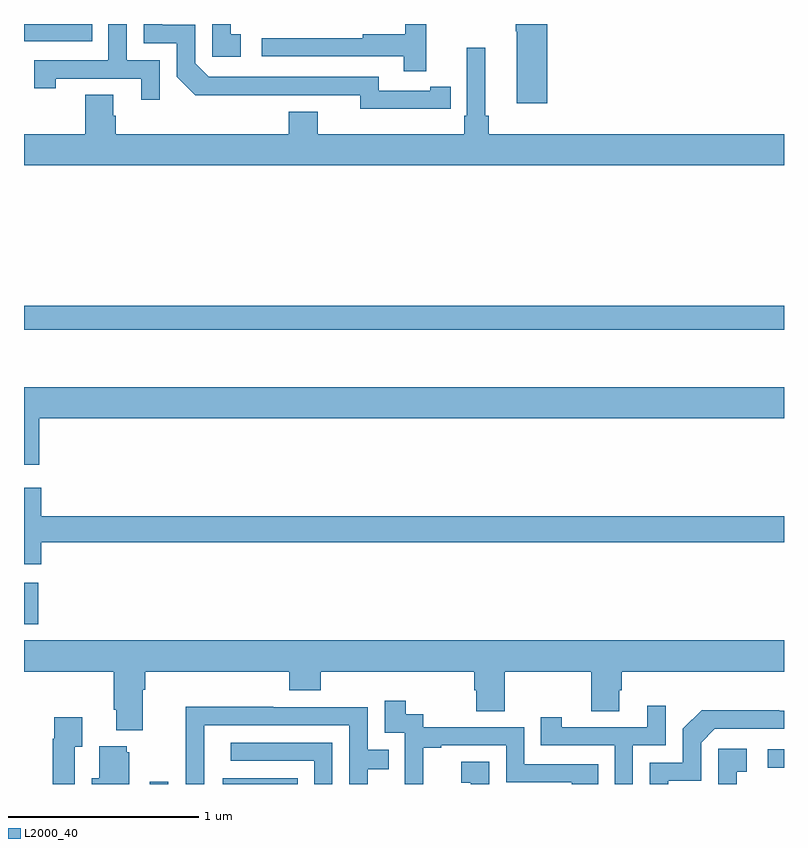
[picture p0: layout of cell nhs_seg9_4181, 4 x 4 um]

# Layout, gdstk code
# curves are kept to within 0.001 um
import gdstk
lib = gdstk.Library(unit=1e-6, precision=1e-09)
def R(c, l, rs):  # rectangles x0, y0, x1, y1
    for r in rs: c.add(gdstk.rectangle(r[:2], r[2:], *l))
def P(c, l, *ps):  # polygons
    for p in ps: c.add(gdstk.Polygon(p, *l))
L2000_40 = (2000, 40)

nhs_seg9_4181 = lib.new_cell('nhs_seg9_4181')
R(nhs_seg9_4181, L2000_40, [(351.663,1190.5,351.759,1190.512), (352.046,1190.5,352.442,1190.53), (354.915,1190.586,355,1190.682), (351,1191.342,351.074,1191.558), (351,1192.89,355,1193.018), (351,1194.408,351.359,1194.5)])
P(nhs_seg9_4181, L2000_40, [(351.714,1194.309),(351.54,1194.309),(351.54,1194.5),(351.444,1194.5),(351.444,1194.309),(351.055,1194.309),(351.055,1194.162),(351.166,1194.162),(351.166,1194.213),(351.617,1194.213),(351.617,1194.102),(351.714,1194.102)],
  [(352.141,1194.447),(352.088,1194.447),(352.088,1194.5),(351.99,1194.5),(351.99,1194.327),(352.141,1194.327)],
  [(353.138,1194.054),(353.246,1194.054),(353.246,1194.17),(353.138,1194.17),(353.138,1194.15),(352.866,1194.15),(352.866,1194.222),(351.972,1194.222),(351.9,1194.294),(351.9,1194.495),(351.727,1194.495),(351.727,1194.5),(351.63,1194.5),(351.63,1194.399),(351.804,1194.399),(351.804,1194.222),(351.902,1194.125),(352.77,1194.126),(352.77,1194.053)],
  [(353.753,1194.5),(353.587,1194.5),(353.587,1194.463),(353.594,1194.463),(353.594,1194.084),(353.753,1194.084)],
  [(353.117,1194.5),(353.007,1194.5),(353.007,1194.446),(352.783,1194.446),(352.783,1194.426),(352.251,1194.426),(352.251,1194.33),(352.999,1194.33),(352.999,1194.252),(353.117,1194.252)],
  [(355,1193.92),(353.447,1193.92),(353.447,1194.016),(353.428,1194.016),(353.428,1194.376),(353.331,1194.376),(353.331,1194.016),(353.318,1194.016),(353.318,1193.92),(352.546,1193.92),(352.546,1194.037),(352.394,1194.037),(352.394,1193.92),(351.482,1193.92),(351.482,1194.018),(351.469,1194.018),(351.469,1194.128),(351.322,1194.128),(351.322,1193.92),(351,1193.92),(351,1193.756),(355,1193.756)],
  [(351.08,1192.424),(355,1192.424),(355,1192.588),(351,1192.588),(351,1192.179),(351.08,1192.179)],
  [(351.092,1191.772),(355,1191.772),(355,1191.908),(351.092,1191.908),(351.092,1192.06),(351,1192.06),(351,1191.657),(351.092,1191.657)],
  [(351.625,1190.996),(351.638,1190.996),(351.638,1191.092),(352.397,1191.092),(352.397,1190.993),(352.562,1190.993),(352.562,1191.092),(353.369,1191.092),(353.369,1190.994),(353.381,1190.994),(353.381,1190.884),(353.529,1190.884),(353.529,1191.092),(353.986,1191.092),(353.986,1190.884),(354.133,1190.884),(354.133,1190.994),(354.146,1190.994),(354.146,1191.092),(355,1191.092),(355,1191.256),(351,1191.256),(351,1191.092),(351.473,1191.092),(351.473,1190.89),(351.485,1190.89),(351.485,1190.783),(351.625,1190.783)],
  [(353.102,1190.691),(353.197,1190.691),(353.197,1190.703),(353.538,1190.703),(353.538,1190.508),(353.883,1190.508),(353.883,1190.5),(354.023,1190.5),(354.023,1190.604),(353.634,1190.604),(353.634,1190.799),(353.1,1190.799),(353.1,1190.868),(353.008,1190.868),(353.008,1190.938),(352.899,1190.938),(352.899,1190.769),(353.004,1190.769),(353.004,1190.54),(353.003,1190.54),(353.003,1190.5),(353.102,1190.5)],
  [(354.204,1190.703),(354.378,1190.703),(354.378,1190.911),(354.281,1190.911),(354.281,1190.799),(353.83,1190.799),(353.83,1190.851),(353.719,1190.851),(353.719,1190.703),(354.108,1190.703),(354.108,1190.5),(354.204,1190.5)],
  [(351.948,1190.554),(351.949,1190.554),(351.949,1190.808),(352.713,1190.808),(352.713,1190.5),(352.809,1190.5),(352.809,1190.578),(352.919,1190.578),(352.919,1190.679),(352.809,1190.679),(352.809,1190.904),(352.313,1190.904),(352.313,1190.906),(351.85,1190.906),(351.85,1190.599),(351.852,1190.599),(351.852,1190.5),(351.948,1190.5)],
  [(354.391,1190.517),(354.564,1190.517),(354.564,1190.718),(354.636,1190.79),(355,1190.79),(355,1190.886),(354.974,1190.886),(354.974,1190.888),(354.566,1190.888),(354.468,1190.79),(354.468,1190.613),(354.294,1190.613),(354.294,1190.5),(354.391,1190.5)],
  [(351.267,1190.695),(351.307,1190.695),(351.307,1190.851),(351.159,1190.851),(351.159,1190.738),(351.151,1190.738),(351.151,1190.5),(351.267,1190.5)],
  [(352.623,1190.718),(352.089,1190.718),(352.089,1190.622),(352.527,1190.622),(352.527,1190.5),(352.623,1190.5)],
  [(351.553,1190.667),(351.542,1190.667),(351.542,1190.698),(351.395,1190.698),(351.395,1190.53),(351.356,1190.53),(351.356,1190.5),(351.553,1190.5)],
  [(354.752,1190.565),(354.805,1190.565),(354.805,1190.686),(354.654,1190.686),(354.654,1190.5),(354.752,1190.5)],
  [(353.448,1190.617),(353.301,1190.617),(353.301,1190.507),(353.35,1190.507),(353.35,1190.5),(353.448,1190.5)])

lib.write_gds('nhs_seg9_4181.gds')
